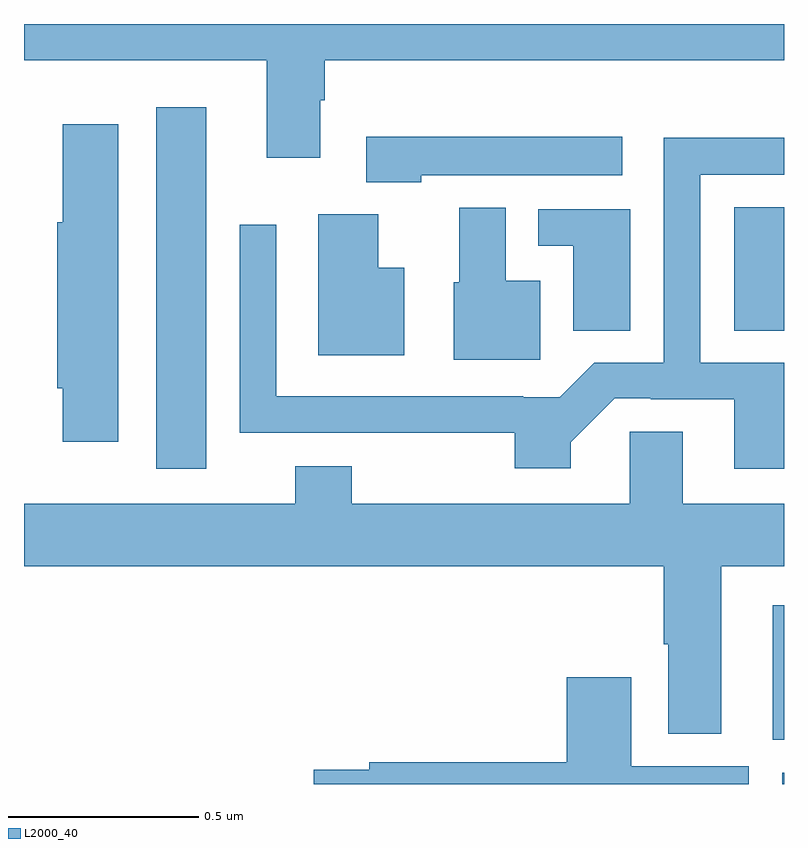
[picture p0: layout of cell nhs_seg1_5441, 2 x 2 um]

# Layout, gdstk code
import gdstk
lib = gdstk.Library(unit=1e-6, precision=1e-09)
def R(c, l, rs):  # rectangles x0, y0, x1, y1
    for r in rs: c.add(gdstk.rectangle(r[:2], r[2:], *l))
def P(c, l, *ps):  # polygons
    for p in ps: c.add(gdstk.Polygon(p, *l))
L2000_40 = (2000, 40)

nhs_seg1_5441 = lib.new_cell('nhs_seg1_5441')
R(nhs_seg1_5441, L2000_40, [(180.995,511.199,181,511.228), (180.971,511.316,181,511.669), (179.348,512.028,179.479,512.98), (180.869,512.392,181,512.717)])
P(nhs_seg1_5441, L2000_40, [(179.779,512.998),(179.792,512.998),(179.792,513.104),(181,513.104),(181,513.199),(179,513.199),(179,513.104),(179.639,513.104),(179.639,512.847),(179.779,512.847)],
  [(179.248,512.935),(179.102,512.935),(179.102,512.677),(179.087,512.677),(179.087,512.241),(179.102,512.241),(179.102,512.1),(179.248,512.1)],
  [(180.045,512.801),(180.574,512.801),(180.574,512.902),(179.901,512.902),(179.901,512.783),(180.045,512.783)],
  [(181,512.307),(180.78,512.307),(180.78,512.802),(181,512.802),(181,512.9),(180.684,512.9),(180.684,512.307),(180.5,512.307),(180.41,512.217),(180.314,512.217),(180.314,512.22),(179.664,512.22),(179.664,512.671),(179.568,512.671),(179.568,512.124),(179.95,512.124),(179.95,512.123),(180.292,512.123),(180.292,512.03),(180.439,512.03),(180.439,512.098),(180.555,512.214),(180.649,512.214),(180.649,512.211),(180.869,512.211),(180.869,512.028),(181,512.028)],
  [(180.358,512.524),(180.268,512.524),(180.268,512.716),(180.146,512.716),(180.146,512.52),(180.131,512.52),(180.131,512.315),(180.358,512.315)],
  [(180.595,512.712),(180.353,512.712),(180.353,512.616),(180.446,512.616),(180.446,512.392),(180.595,512.392)],
  [(180.001,512.557),(179.932,512.557),(179.932,512.698),(179.774,512.698),(179.774,512.327),(180.001,512.327)],
  [(180.835,511.772),(181,511.772),(181,511.936),(180.733,511.936),(180.733,512.126),(180.594,512.126),(180.594,511.936),(179.862,511.936),(179.862,512.035),(179.714,512.035),(179.714,511.936),(179,511.936),(179,511.772),(180.683,511.772),(180.683,511.567),(180.695,511.567),(180.695,511.331),(180.835,511.331)],
  [(180.907,511.246),(180.598,511.246),(180.598,511.48),(180.428,511.48),(180.428,511.256),(179.908,511.256),(179.908,511.236),(179.762,511.236),(179.762,511.199),(180.907,511.199)])

lib.write_gds('nhs_seg1_5441.gds')
